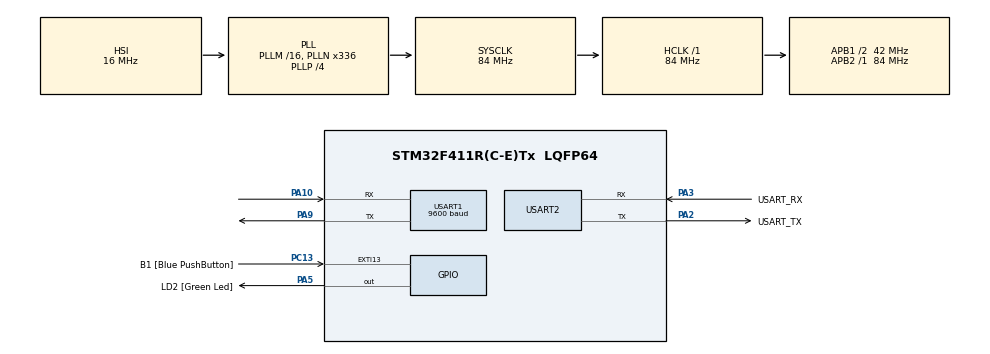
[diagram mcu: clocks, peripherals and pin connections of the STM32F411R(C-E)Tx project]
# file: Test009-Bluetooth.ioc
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Dma.Request0=USART1_RX
Dma.Request1=USART2_RX
Dma.USART1_RX.0.Direction=DMA_PERIPH_TO_MEMORY
Dma.USART1_RX.0.FIFOMode=DMA_FIFOMODE_DISABLE
Dma.USART1_RX.0.Instance=DMA2_Stream2
Dma.USART1_RX.0.MemDataAlignment=DMA_MDATAALIGN_BYTE
Dma.USART1_RX.0.MemInc=DMA_MINC_ENABLE
Dma.USART1_RX.0.Mode=DMA_CIRCULAR
Dma.USART1_RX.0.PeriphDataAlignment=DMA_PDATAALIGN_BYTE
Dma.USART1_RX.0.PeriphInc=DMA_PINC_DISABLE
Dma.USART1_RX.0.Priority=DMA_PRIORITY_LOW
Dma.USART2_RX.1.Direction=DMA_PERIPH_TO_MEMORY
Dma.USART2_RX.1.FIFOMode=DMA_FIFOMODE_DISABLE
Dma.USART2_RX.1.Instance=DMA1_Stream5
Dma.USART2_RX.1.MemDataAlignment=DMA_MDATAALIGN_BYTE
Dma.USART2_RX.1.MemInc=DMA_MINC_ENABLE
Dma.USART2_RX.1.Mode=DMA_CIRCULAR
Dma.USART2_RX.1.PeriphDataAlignment=DMA_PDATAALIGN_BYTE
Dma.USART2_RX.1.PeriphInc=DMA_PINC_DISABLE
Dma.USART2_RX.1.Priority=DMA_PRIORITY_LOW
Mcu.Family=STM32F4
Mcu.Name=STM32F411R(C-E)Tx
Mcu.Package=LQFP64
NVIC.DMA1_Stream5_IRQn=true\:0\:0\:false\:false\:true\:false\:true\:true
NVIC.DMA2_Stream2_IRQn=true\:0\:0\:false\:false\:true\:false\:true\:true
NVIC.PriorityGroup=NVIC_PRIORITYGROUP_0
NVIC.USART1_IRQn=true\:0\:0\:false\:false\:true\:true\:true\:true
NVIC.USART2_IRQn=true\:0\:0\:false\:false\:true\:true\:true\:true
PA10.Mode=Asynchronous
PA10.Signal=USART1_RX
PA13.GPIO_Label=TMS
PA13.Mode=Serial_Wire
PA13.Signal=SYS_JTMS-SWDIO
PA14.GPIO_Label=TCK
PA14.Mode=Serial_Wire
PA14.Signal=SYS_JTCK-SWCLK
PA2.GPIO_Label=USART_TX
PA2.Mode=Asynchronous
PA2.Signal=USART2_TX
PA3.GPIO_Label=USART_RX
PA3.Mode=Asynchronous
PA3.Signal=USART2_RX
PA5.GPIO_Label=LD2 [Green Led]
PA5.Signal=GPIO_Output
PA9.Mode=Asynchronous
PA9.Signal=USART1_TX
PB3.GPIO_Label=SWO
PB3.Signal=SYS_JTDO-SWO
PC13-ANTI_TAMP.GPIO_Label=B1 [Blue PushButton]
PC13-ANTI_TAMP.GPIO_ModeDefaultEXTI=GPIO_MODE_IT_FALLING
PC13-ANTI_TAMP.Signal=GPXTI13
PC14-OSC32_IN.Mode=LSE-External-Oscillator
PC14-OSC32_IN.Signal=RCC_OSC32_IN
PC15-OSC32_OUT.Mode=LSE-External-Oscillator
PC15-OSC32_OUT.Signal=RCC_OSC32_OUT
PH0\ -\ OSC_IN.Mode=HSE-External-Clock-Source
PH0\ -\ OSC_IN.Signal=RCC_OSC_IN
PH1\ -\ OSC_OUT.Mode=HSE-External-Clock-Source
PH1\ -\ OSC_OUT.Signal=RCC_OSC_OUT
ProjectManager.HeapSize=0x200
ProjectManager.StackSize=0x400
ProjectManager.TargetToolchain=STM32CubeIDE
RCC.48MHZClocksFreq_Value=84000000
RCC.AHBFreq_Value=84000000
RCC.APB1CLKDivider=RCC_HCLK_DIV2
RCC.APB1Freq_Value=42000000
RCC.APB1TimFreq_Value=84000000
RCC.APB2Freq_Value=84000000
RCC.APB2TimFreq_Value=84000000
RCC.CortexFreq_Value=84000000
RCC.FLatency-AdvancedSettings=FLASH_LATENCY_2
RCC.HCLKFreq_Value=84000000
RCC.HSE_VALUE=8000000
RCC.HSI_VALUE=16000000
RCC.PLLN=336
RCC.PLLP=RCC_PLLP_DIV4
RCC.SYSCLKFreq_VALUE=84000000
RCC.SYSCLKSource=RCC_SYSCLKSOURCE_PLLCLK
RCC.VCOOutputFreq_Value=336000000
USART1.BaudRate=9600
USART1.VirtualMode=VM_ASYNC
USART2.VirtualMode=VM_ASYNC
board=NUCLEO-F411RE

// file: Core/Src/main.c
/* USER CODE BEGIN Header */
/**
  ******************************************************************************
  * @file           : main.c
  * @brief          : Main program body
  ******************************************************************************
  * @attention
  *
  * Copyright (c) 2025 STMicroelectronics.
  * All rights reserved.
  *
  * This software is licensed under terms that can be found in the LICENSE file
  * in the root directory of this software component.
  * If no LICENSE file comes with this software, it is provided AS-IS.
  *
  ******************************************************************************
  */
/* USER CODE END Header */
#include "main.h"

UART_HandleTypeDef huart1;
UART_HandleTypeDef huart2;
DMA_HandleTypeDef hdma_usart1_rx;
DMA_HandleTypeDef hdma_usart2_rx;

void SystemClock_Config(void);
static void MX_GPIO_Init(void);
static void MX_DMA_Init(void);
static void MX_USART2_UART_Init(void);
static void MX_USART1_UART_Init(void);

/* USER CODE BEGIN 0 */
#define BUF_SIZE 100
char dum1, dum2;
char buf1[BUF_SIZE], buf2[BUF_SIZE];	// DMA buffer for UART1, UART2
int h1 = 0, h2 = 0, t1 = 0, t2 = 0;

void HAL_UART_RxCpltCallback(UART_HandleTypeDef *huart)
{
  if(huart == &huart1) {
	  buf1[t1++] = dum1;
	  HAL_UART_Transmit(&huart2, &dum1, 1, 10);
	  if(dum1 == '\n') {
		  CheckCMD(buf1);
		  t1 = 0;
	  }
	  HAL_UART_Receive_IT(&huart1, &dum1, 1);
  }
  else if(huart == &huart2) {
	  buf2[t2++] = dum2;
	  HAL_UART_Transmit(&huart2, &dum2, 1, 10);
	  if(dum2 == '\r') {

		  HAL_UART_Transmit(&huart2, "\n", 1, 10);

		  buf2[t2++] = '\n';
		  HAL_UART_Transmit(&huart1, buf2, t2, 10);
		  //HAL_UART_Transmit(&huart1, "\n", 1, 10);
		  t2 = 0;
	  }
		  HAL_UART_Receive_IT(&huart2, &dum2, 1);
  }
}

void ToLower(char* str) {
	for(int i = 0; i < strlen(str); i++) {
		if(str[i] >= 'A' && str[i] <= 'Z') {
			str[i] = str[i] + 32;
		}
	}
}

void ToUpper(char* str) {
	for(int i = 0; i < strlen(str); i++) {
		if(str[i] >= 'a' && str[i] <= 'z') {
			str[i] = str[i] - 32;
		}
	}
}

void TrimEx(char* dest, char* src) {	// source = "_____xxx_x__\t__\r\n" ==> "xxx_x"
	int h = 0, t = strlen(src) - 1;
	while(1) { // head index
		if(*(src + h) == ' ' || *(src + h) == '\t' || *(src + h) == '\r' || *(src + h) == '\n') {
			h++;
		}
		else {
			break;
		}
	}
	while(1) { // tail index
		if(*(src + t) == ' ' || *(src + t) == '\t' || *(src + t) == '\r' || *(src + t) == '\n') {
			t--;
		}
		else {
			break;
		}
	}
	strncpy(dest, src + h, t - h + 1);
}

char* Trim(char* src) {	// source = "_____xxx_x__\t__\r\n" ==> "xxx_x"
	int h = 0, t = strlen(src) - 1;
	while(*(src + h) == ' ' || *(src + h) == '\t' || *(src + h) == '\r' || *(src + h) == '\n') { // head index
		h++;
	}
	while(*(src + t) == ' ' || *(src + t) == '\t' || *(src + t) == '\r' || *(src + t) == '\n') { // tail index
		t--;
	}
	char* dest = (char *)malloc(t - h + 1);
	strncpy(dest, src + h, t - h + 1);
	return dest;
}

void CheckCMD(char* bb) { // ex) bb = "      LED 1     " or "      LED 0       "    ==>    str = "LED 1" or "LED 0"
	char *str = Trim(bb);;
	char *arg;

	ToUpper(str);
	if(strncmp(str, "LED", 3) == 0) {
		arg = Trim(str + 3);
		if(arg[0] == '1') {
			HAL_GPIO_WritePin(LD2_GPIO_Port, LD2_Pin, 1);
		}
		else if(arg[0] == '0') {
			HAL_GPIO_WritePin(LD2_GPIO_Port, LD2_Pin, 0);
		}
	}
}

/* USER CODE END 0 */

int main(void)
{

  /* MCU Configuration--------------------------------------------------------*/

  /* Reset of all peripherals, Initializes the Flash interface and the Systick. */
  HAL_Init();

  /* Configure the system clock */
  SystemClock_Config();

  /* Initialize all configured peripherals */
  MX_GPIO_Init();
  MX_DMA_Init();
  MX_USART2_UART_Init();
  MX_USART1_UART_Init();
  /* USER CODE BEGIN 2 */
  ProgramStart("Bluetooth");
  //HAL_UART_Receive_DMA(&huart1, buf1, BUF_SIZE);
  //HAL_UART_Receive_DMA(&huart2, buf2, BUF_SIZE);
  HAL_UART_Receive_IT(&huart1, &dum1, 1);
  HAL_UART_Receive_IT(&huart2, &dum2, 1);
  /* USER CODE END 2 */

  /* Infinite loop */
  while (1)
  {

  }
}

void SystemClock_Config(void)
{
  RCC_OscInitTypeDef RCC_OscInitStruct = {0};
  RCC_ClkInitTypeDef RCC_ClkInitStruct = {0};

  /** Configure the main internal regulator output voltage
  */
  __HAL_RCC_PWR_CLK_ENABLE();
  __HAL_PWR_VOLTAGESCALING_CONFIG(PWR_REGULATOR_VOLTAGE_SCALE1);

  /** Initializes the RCC Oscillators according to the specified parameters
  * in the RCC_OscInitTypeDef structure.
  */
  RCC_OscInitStruct.OscillatorType = RCC_OSCILLATORTYPE_HSI;
  RCC_OscInitStruct.HSIState = RCC_HSI_ON;
  RCC_OscInitStruct.HSICalibrationValue = RCC_HSICALIBRATION_DEFAULT;
  RCC_OscInitStruct.PLL.PLLState = RCC_PLL_ON;
  RCC_OscInitStruct.PLL.PLLSource = RCC_PLLSOURCE_HSI;
  RCC_OscInitStruct.PLL.PLLM = 16;
  RCC_OscInitStruct.PLL.PLLN = 336;
  RCC_OscInitStruct.PLL.PLLP = RCC_PLLP_DIV4;
  RCC_OscInitStruct.PLL.PLLQ = 4;
  if (HAL_RCC_OscConfig(&RCC_OscInitStruct) != HAL_OK)
  {
    Error_Handler();
  }

  /** Initializes the CPU, AHB and APB buses clocks
  */
  RCC_ClkInitStruct.ClockType = RCC_CLOCKTYPE_HCLK|RCC_CLOCKTYPE_SYSCLK
                              |RCC_CLOCKTYPE_PCLK1|RCC_CLOCKTYPE_PCLK2;
  RCC_ClkInitStruct.SYSCLKSource = RCC_SYSCLKSOURCE_PLLCLK;
  RCC_ClkInitStruct.AHBCLKDivider = RCC_SYSCLK_DIV1;
  RCC_ClkInitStruct.APB1CLKDivider = RCC_HCLK_DIV2;
  RCC_ClkInitStruct.APB2CLKDivider = RCC_HCLK_DIV1;

  if (HAL_RCC_ClockConfig(&RCC_ClkInitStruct, FLASH_LATENCY_2) != HAL_OK)
  {
    Error_Handler();
  }
}

static void MX_USART1_UART_Init(void)
{

  huart1.Instance = USART1;
  huart1.Init.BaudRate = 9600;
  huart1.Init.WordLength = UART_WORDLENGTH_8B;
  huart1.Init.StopBits = UART_STOPBITS_1;
  huart1.Init.Parity = UART_PARITY_NONE;
  huart1.Init.Mode = UART_MODE_TX_RX;
  huart1.Init.HwFlowCtl = UART_HWCONTROL_NONE;
  huart1.Init.OverSampling = UART_OVERSAMPLING_16;
  if (HAL_UART_Init(&huart1) != HAL_OK)
  {
    Error_Handler();
  }

}

static void MX_USART2_UART_Init(void)
{

  huart2.Instance = USART2;
  huart2.Init.BaudRate = 115200;
  huart2.Init.WordLength = UART_WORDLENGTH_8B;
  huart2.Init.StopBits = UART_STOPBITS_1;
  huart2.Init.Parity = UART_PARITY_NONE;
  huart2.Init.Mode = UART_MODE_TX_RX;
  huart2.Init.HwFlowCtl = UART_HWCONTROL_NONE;
  huart2.Init.OverSampling = UART_OVERSAMPLING_16;
  if (HAL_UART_Init(&huart2) != HAL_OK)
  {
    Error_Handler();
  }

}

static void MX_DMA_Init(void)
{

  /* DMA controller clock enable */
  __HAL_RCC_DMA2_CLK_ENABLE();
  __HAL_RCC_DMA1_CLK_ENABLE();

  /* DMA interrupt init */
  /* DMA1_Stream5_IRQn interrupt configuration */
  HAL_NVIC_SetPriority(DMA1_Stream5_IRQn, 0, 0);
  HAL_NVIC_EnableIRQ(DMA1_Stream5_IRQn);
  /* DMA2_Stream2_IRQn interrupt configuration */
  HAL_NVIC_SetPriority(DMA2_Stream2_IRQn, 0, 0);
  HAL_NVIC_EnableIRQ(DMA2_Stream2_IRQn);

}

static void MX_GPIO_Init(void)
{
  GPIO_InitTypeDef GPIO_InitStruct = {0};

  /* GPIO Ports Clock Enable */
  __HAL_RCC_GPIOC_CLK_ENABLE();
  __HAL_RCC_GPIOH_CLK_ENABLE();
  __HAL_RCC_GPIOA_CLK_ENABLE();
  __HAL_RCC_GPIOB_CLK_ENABLE();

  /*Configure GPIO pin Output Level */
  HAL_GPIO_WritePin(LD2_GPIO_Port, LD2_Pin, GPIO_PIN_RESET);

  /*Configure GPIO pin : B1_Pin */
  GPIO_InitStruct.Pin = B1_Pin;
  GPIO_InitStruct.Mode = GPIO_MODE_IT_FALLING;
  GPIO_InitStruct.Pull = GPIO_NOPULL;
  HAL_GPIO_Init(B1_GPIO_Port, &GPIO_InitStruct);

  /*Configure GPIO pin : LD2_Pin */
  GPIO_InitStruct.Pin = LD2_Pin;
  GPIO_InitStruct.Mode = GPIO_MODE_OUTPUT_PP;
  GPIO_InitStruct.Pull = GPIO_NOPULL;
  GPIO_InitStruct.Speed = GPIO_SPEED_FREQ_LOW;
  HAL_GPIO_Init(LD2_GPIO_Port, &GPIO_InitStruct);

}

void Error_Handler(void)
{
  __disable_irq();
  while (1)
  {
  }
}
